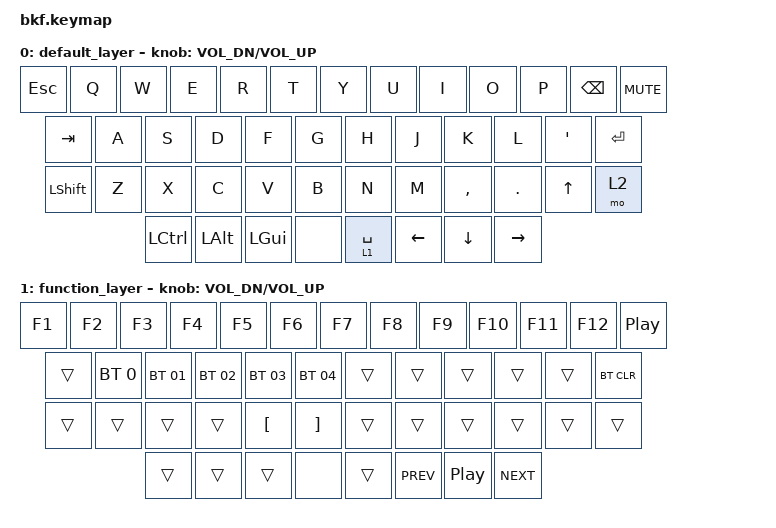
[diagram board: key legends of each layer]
#include <behaviors.dtsi>
#include <dt-bindings/zmk/keys.h>
#include <dt-bindings/zmk/bt.h>


/ {
    keymap {
        compatible = "zmk,keymap";

        default_layer {
// | ESC  | Q | W | E | R | T | Y | U | I | O | P | BSPC | MUTE|
// | TAB   | A | S | D | F | G | H | J | K | L | ' | RETURN    |
// | LSHIFT | Z | X | C | V | B | N | M | , | . | UP | LAYER 2 |
// | CTRL | LGUI | LALT | SPACE/LAYER 2  | LEFT | DOWN | RIGHT |
// etc
//
            bindings = <
    &kp ESC         &kp Q    &kp W   &kp E   &kp R   &kp T   &kp Y   &kp U   &kp I     &kp O     &kp P    &kp BSPC &kp C_MUTE
    &kp TAB   &kp A    &kp S   &kp D   &kp F   &kp G   &kp H   &kp J   &kp K     &kp L     &kp SQT  &kp RET
    &kp LSHIFT      &kp Z    &kp X   &kp C   &kp V   &kp B   &kp N   &kp M   &kp COMMA &kp DOT   &kp UP  &mo 2
   &kp LCTRL  &kp LALT &kp LGUI &none &lt 1 SPACE &kp LEFT &kp DOWN &kp RIGHT
            >;

            sensor-bindings = <&inc_dec_kp C_VOL_DN C_VOL_UP>;
        };

        symbols_layer {
/
   &kp N1    &kp N2    &kp N3    &kp N4    &kp N5    &kp N6    &kp N7    &kp N8    &kp N9    &kp N0    &kp MINUS &kp EQUAL &kp GRAVE
   &kp CAPS   &trans  &kp MINUS &kp EQUAL &trans   &trans    &trans  &kp BSLH  &kp LBKT  &kp RBKT    &kp SEMI &trans
   &trans     &trans    &trans    &trans    &trans &trans  &trans  &trans   &trans &trans &kp SLASH &trans
   &trans  &trans &trans &none &trans &trans &trans &trans
                        >;

                        sensor-bindings = <&inc_dec_kp C_VOL_DN C_VOL_UP>;
        };

        function_layer {

            bindings = <

&kp F1 &kp F2        &kp F3        &kp F4        &kp F5        &kp F6        &kp F7     &kp F8       &kp F9 &kp F10 &kp F11 &kp F12 &kp C_PP
   &trans    &bt BT_SEL 0  &bt BT_SEL 01 &bt BT_SEL 02 &bt BT_SEL 03 &bt BT_SEL 04     &trans    &trans    &trans    &trans    &trans    &bt BT_CLR
   &trans    &trans    &trans     &trans    &kp LBKT &kp RBKT   &trans    &trans    &trans    &trans    &trans    &trans
 &trans  &trans &trans &none &trans                                 &kp C_PREV &kp C_PP &kp C_NEXT
                        >;

                        sensor-bindings = <&inc_dec_kp C_VOL_DN C_VOL_UP>;
        };

    };
};
